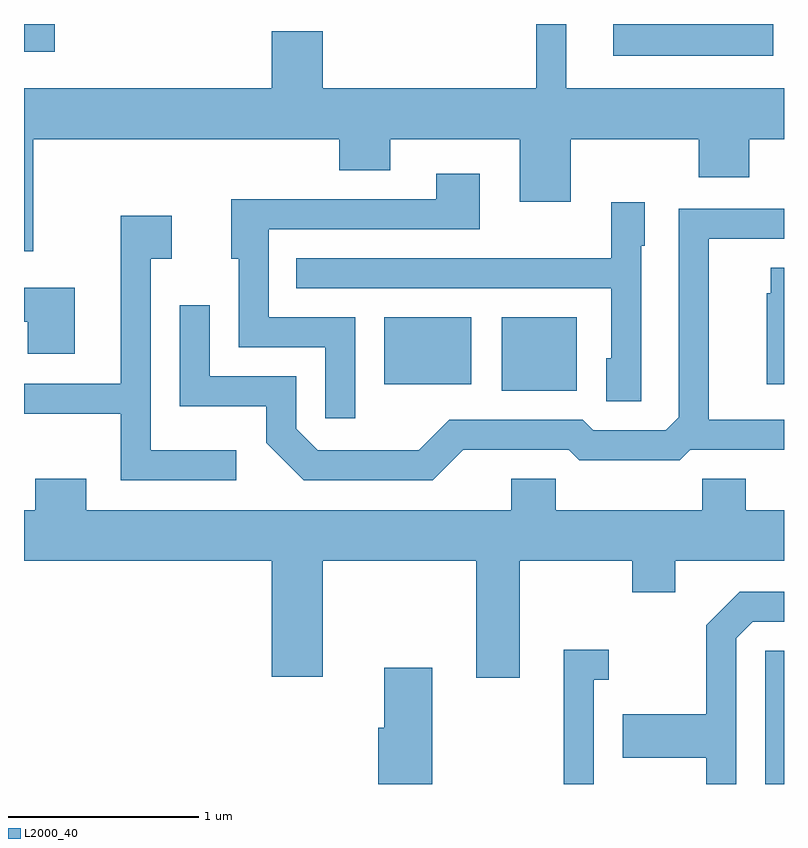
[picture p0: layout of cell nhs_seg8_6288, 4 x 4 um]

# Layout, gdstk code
import gdstk
lib = gdstk.Library(unit=1e-6, precision=1e-09)
def R(c, l, rs):  # rectangles x0, y0, x1, y1
    for r in rs: c.add(gdstk.rectangle(r[:2], r[2:], *l))
def P(c, l, *ps):  # polygons
    for p in ps: c.add(gdstk.Polygon(p, *l))
L2000_40 = (2000, 40)

nhs_seg8_6288 = lib.new_cell('nhs_seg8_6288')
R(nhs_seg8_6288, L2000_40, [(377.511,1846.342,377.611,1847.044), (376.126,1848.411,376.519,1848.799), (375.506,1848.446,375.964,1848.799), (376.711,1850.176,377.554,1850.342), (373.611,1850.196,373.774,1850.342)])
P(nhs_seg8_6288, L2000_40, [(373.659,1849.736),(375.271,1849.736),(375.271,1849.571),(375.539,1849.571),(375.539,1849.736),(376.221,1849.736),(376.221,1849.406),(376.489,1849.406),(376.489,1849.736),(377.161,1849.736),(377.161,1849.536),(377.429,1849.536),(377.429,1849.736),(377.611,1849.736),(377.611,1850.004),(376.464,1850.004),(376.464,1850.342),(376.306,1850.342),(376.306,1850.004),(375.184,1850.004),(375.184,1850.304),(374.916,1850.304),(374.916,1850.004),(373.611,1850.004),(373.611,1849.146),(373.659,1849.146)],
  [(375.354,1848.799),(374.899,1848.799),(374.899,1849.261),(376.009,1849.261),(376.009,1849.554),(375.781,1849.554),(375.781,1849.419),(374.701,1849.419),(374.701,1849.106),(374.741,1849.106),(374.741,1848.641),(375.196,1848.641),(375.196,1848.268),(375.354,1848.268)],
  [(376.859,1849.176),(376.879,1849.176),(376.879,1849.404),(376.701,1849.404),(376.701,1849.109),(375.043,1849.109),(375.043,1848.951),(376.701,1848.951),(376.701,1848.584),(376.676,1848.584),(376.676,1848.356),(376.859,1848.356)],
  [(375.922,1848.101),(376.479,1848.101),(376.534,1848.046),(377.062,1848.046),(377.117,1848.101),(377.611,1848.101),(377.611,1848.259),(377.214,1848.259),(377.214,1849.211),(377.611,1849.211),(377.611,1849.369),(377.056,1849.369),(377.056,1848.272),(376.989,1848.204),(376.607,1848.204),(376.552,1848.259),(375.849,1848.259),(375.689,1848.099),(375.157,1848.099),(375.044,1848.212),(375.044,1848.489),(374.589,1848.489),(374.589,1848.863),(374.431,1848.863),(374.431,1848.331),(374.886,1848.331),(374.886,1848.139),(375.084,1847.941),(375.762,1847.941)],
  [(374.728,1848.099),(374.279,1848.099),(374.279,1849.106),(374.389,1849.106),(374.389,1849.334),(374.121,1849.334),(374.121,1848.449),(373.611,1848.449),(373.611,1848.291),(374.121,1848.291),(374.121,1847.941),(374.728,1847.941)],
  [(377.611,1849.059),(377.541,1849.059),(377.541,1848.924),(377.521,1848.924),(377.521,1848.446),(377.611,1848.446)],
  [(373.879,1848.954),(373.611,1848.954),(373.611,1848.776),(373.631,1848.776),(373.631,1848.606),(373.879,1848.606)],
  [(376.219,1847.516),(376.811,1847.516),(376.811,1847.351),(377.039,1847.351),(377.039,1847.516),(377.611,1847.516),(377.611,1847.784),(377.409,1847.784),(377.409,1847.949),(377.181,1847.949),(377.181,1847.784),(376.409,1847.784),(376.409,1847.949),(376.176,1847.949),(376.176,1847.784),(373.939,1847.784),(373.939,1847.949),(373.671,1847.949),(373.671,1847.784),(373.611,1847.784),(373.611,1847.516),(374.916,1847.516),(374.916,1846.906),(375.184,1846.906),(375.184,1847.516),(375.991,1847.516),(375.991,1846.901),(376.219,1846.901)],
  [(377.359,1847.109),(377.447,1847.196),(377.611,1847.196),(377.611,1847.354),(377.379,1847.354),(377.201,1847.177),(377.201,1846.709),(376.761,1846.709),(376.761,1846.481),(377.201,1846.481),(377.201,1846.342),(377.359,1846.342)],
  [(376.609,1846.891),(376.688,1846.891),(376.688,1847.049),(376.451,1847.049),(376.451,1846.342),(376.609,1846.342)],
  [(375.759,1846.954),(375.506,1846.954),(375.506,1846.639),(375.476,1846.639),(375.476,1846.342),(375.759,1846.342)])

lib.write_gds('nhs_seg8_6288.gds')
